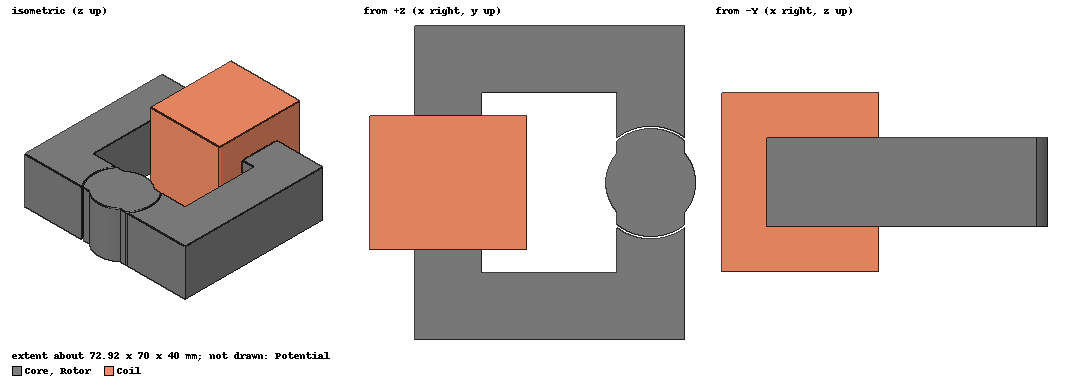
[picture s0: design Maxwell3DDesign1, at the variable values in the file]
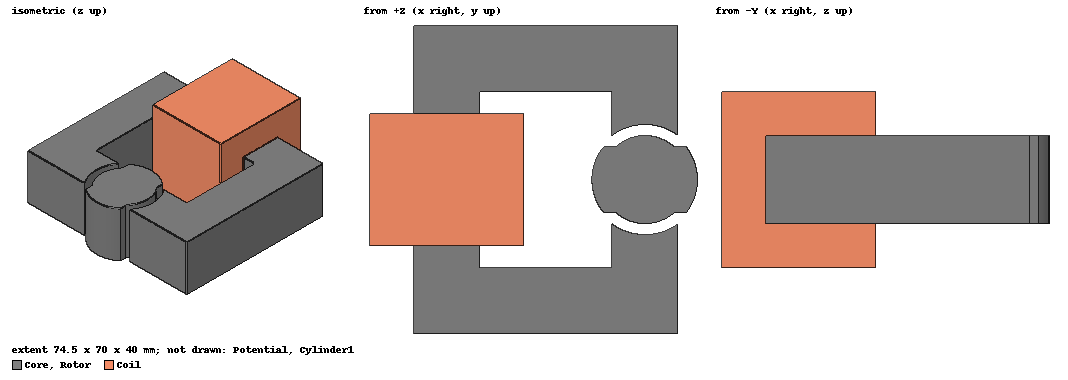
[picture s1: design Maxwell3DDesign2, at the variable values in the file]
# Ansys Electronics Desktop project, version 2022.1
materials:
  vacuum: permittivity=1
  copper: permeability=0.999991 conductivity=58000000
  steel_linear: permittivity=1 permeability=667.75 conductivity=2000000 lande_g_factor=2
  steel_1011: permittivity=1 permeability{HUnit=A_per_meter BUnit=tesla curve (0, 0) (100, 0.08391194) (200, 0.16782388) (300, 0.251735819) (400, 0.335647759) (500, 0.419559699) (600, 0.503471639) (700, 0.587383578) (800, 0.671295518) (900, 0.755207458) (1000, 0.839119398) (1100, 0.923031338) (1200, 1.006943277) (1300, 1.090855217) (1400, 1.174767157) (1500, 1.258679097) (1600, 1.342591036) (1700, 1.426502976) (1800, 1.510414916) (1900, 1.594326856) (2000, 1.678238796) (2100, 1.762150735) (2200, 1.846062675) (2300, 1.929974615) (2400, 2.013886555) (2500, 2.097798494) (2600, 2.181710434) (2700, 2.265622374) (2800, 2.349534314) (2900, 2.433446254) (3000, 2.517358193) (3100, 2.601270133) (3200, 2.685182073) (3300, 2.769094013) (3400, 2.853005952) (3500, 2.936917892) (3600, 3.020829832)} conductivity=2000000 lande_g_factor=2
  steel_1010: permittivity=1 permeability{HUnit=A_per_meter BUnit=tesla curve (0, 0) (238.7, 0.2003) (318.3, 0.3204) (358.1, 0.40045) (437.7, 0.50055) (477.5, 0.5606) (636.6, 0.7908) (795.8, 0.931) (1114.1, 1.1014) (1273.2, 1.2016) (1591.5, 1.302) (2228.2, 1.4028) (3183.1, 1.524) (4774.6, 1.626) (6366.2, 1.698) (7957.7, 1.73) (15915.5, 1.87) (31831, 1.99) (47746.5, 2.04) (63662, 2.07) (79577.5, 2.095) (159155, 2.2) (318310, 2.4)} conductivity=2000000 lande_g_factor=2

design Maxwell3DDesign1 (Maxwell 3D, Magnetostatic, model units mm)
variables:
  rotationAngle = -180deg
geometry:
  Core [steel_1010] = rectangle(corner=(0mm, 0mm, 0mm), x_size=60mm, y_size=70mm)
  Rectangle2 = rectangle(corner=(15mm, 15mm, 0mm), x_size=30mm, y_size=40mm)
  Circle1 = circle(normal=Z, centre=(52.5mm, 35mm, 0mm), radius=12.5mm)
  Circle2 = circle(normal=Z, centre=(52.5mm, 35mm, 0mm), radius=12mm)
  Rotor [steel_1010] = circle(normal=Z, centre=(52.5mm, 35mm, 0mm), radius=10mm)
  Core.subtract(Rectangle2)
  Core.subtract(Circle1)
  Rectangle3 = rectangle(corner=(45mm, 25.63mm, 0mm), x_size=15mm, y_size=18.73mm)
  Rectangle4 = rectangle(corner=(45mm, 25.63mm, 0mm), x_size=-5mm, y_size=18.73mm)
  Circle2.subtract(Rectangle4)
  Rectangle5 = rectangle(corner=(60mm, 25.63mm, 0mm), x_size=5mm, y_size=18.73mm)
  Circle2.subtract(Rectangle5)
  Rotor.unite(Rectangle3, Circle2)
  Coil1 = rectangle(corner=(0mm, 20mm, 0mm), x_size=-10mm, y_size=30mm)
  Coil2 = rectangle(corner=(15mm, 20mm, 0mm), x_size=10mm, y_size=30mm)
  [Core, Rotor, Coil1, Coil2].move(-52.5mm, -35.000002mm, 0mm)
  Rotor.rotate(axis=Z, angle=rotationAngle)
  [Core, Rotor, Coil1, Coil2].sweep_along_vector((0meter, 0meter, 20mm))
  [Core, Rotor, Coil1, Coil2].move(0mm, 0mm, 10mm)
  Coil [copper] = box(corner=(-62.5mm, -15.000002mm, 30mm), size=(35mm, 30mm, 10mm))
  Box2 = box(corner=(-27.5mm, -15.000002mm, 10mm), size=(-35mm, 30mm, -10mm))
  Coil.unite(Box2, Coil1, Coil2)
  Coil_Section1 [copper] = Coil.section(plane=XY)
  [Core, Rotor, Coil, Coil_Section1].move(52.5mm, 35.000002mm, -30mm)
  [Core, Rotor, Coil, Coil_Section1].move(-10mm, 0mm, 0mm)
  [Core, Rotor, Coil, Coil_Section1].move(2mm, 0mm, 0mm)
  Coil_Section2 [copper] = Coil.section(plane=YZ)
  Coil_Section2.separate_bodies()
  [Core, Rotor, Coil, Coil_Section1, Coil_Section2].move(-44.5mm, -35.000002mm, 0mm)
  [Core, Rotor, Coil, Coil_Section1, Coil_Section2].move(0mm, 0mm, 30mm)
  Rotor.rotate(axis=Z, angle=rotationAngle)
  Potential [vacuum] = box(corner=(-100mm, -50mm, -50mm), size=(200mm, 100mm, 100mm))
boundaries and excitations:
  Insulating1: Insulating Objects=Potential
  Current1: Current Objects=Coil_Section2 Current=750A IsSolid=false Point_out_of_terminal=true
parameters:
  Torque1: Torque Is_Virtual=true Coordinate_System=Global Axis=Z Is_Positive=true Objects=Rotor
  Matrix1: Matrix Current1: NumberOfTurns=750
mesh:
  initial mesh: GlobalCurvilinear{Apply}
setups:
  Setup1: Magnetostatic MaximumPasses=10 MinimumPasses=2 MinimumConvergedPasses=1 PercentRefinement=30 PercentError=1 ConstantDelta=0s NonLinearResidual=1e-06
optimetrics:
  ParametricSetup1: Parametric Sim._Setups=[Setup1]
    sweep rotationAngle: LIN -180deg 180deg 1deg
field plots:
  Mag_B1, B_Vector1: B on Setup1 : LastAdaptive

design Maxwell3DDesign2 (Maxwell 3D, Transient, model units mm)
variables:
  rotationAngle = -180deg
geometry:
  Core [steel_1010] = rectangle(corner=(0mm, 0mm, 0mm), x_size=60mm, y_size=70mm)
  Rectangle2 = rectangle(corner=(15mm, 15mm, 0mm), x_size=30mm, y_size=40mm)
  Circle1 = circle(normal=Z, centre=(52.5mm, 35mm, 0mm), radius=12.5mm)
  Circle2 = circle(normal=Z, centre=(52.5mm, 35mm, 0mm), radius=12mm)
  Rotor [steel_1010] = circle(normal=Z, centre=(52.5mm, 35mm, 0mm), radius=10mm)
  Core.subtract(Rectangle2)
  Core.subtract(Circle1)
  Rectangle3 = rectangle(corner=(45mm, 25.63mm, 0mm), x_size=15mm, y_size=18.73mm)
  Rectangle4 = rectangle(corner=(45mm, 25.63mm, 0mm), x_size=-5mm, y_size=18.73mm)
  Circle2.subtract(Rectangle4)
  Rectangle5 = rectangle(corner=(60mm, 25.63mm, 0mm), x_size=5mm, y_size=18.73mm)
  Circle2.subtract(Rectangle5)
  Rotor.unite(Rectangle3, Circle2)
  Coil1 = rectangle(corner=(0mm, 20mm, 0mm), x_size=-10mm, y_size=30mm)
  Coil2 = rectangle(corner=(15mm, 20mm, 0mm), x_size=10mm, y_size=30mm)
  [Core, Rotor, Coil1, Coil2].move(-52.5mm, -35.000002mm, 0mm)
  Rotor.rotate(axis=Z, angle=rotationAngle)
  [Core, Rotor, Coil1, Coil2].sweep_along_vector((0meter, 0meter, 20mm))
  [Core, Rotor, Coil1, Coil2].move(0mm, 0mm, 10mm)
  Coil [copper] = box(corner=(-62.5mm, -15.000002mm, 30mm), size=(35mm, 30mm, 10mm))
  Box2 = box(corner=(-27.5mm, -15.000002mm, 10mm), size=(-35mm, 30mm, -10mm))
  Coil.unite(Box2, Coil1, Coil2)
  [Core, Rotor, Coil].move(52.5mm, 35.000002mm, -30mm)
  [Core, Rotor, Coil].move(-10mm, 0mm, 0mm)
  [Core, Rotor, Coil].move(2mm, 0mm, 0mm)
  [Core, Rotor, Coil].move(-44.5mm, -35.000002mm, 0mm)
  [Core, Rotor, Coil].move(0mm, 0mm, 30mm)
  Potential [vacuum] = box(corner=(-100mm, -50mm, -50mm), size=(200mm, 100mm, 100mm))
  Rotor.rotate(axis=Z, angle=-89.9deg)
  Cylinder1 [vacuum] = cylinder(axis=Z, base_centre=(0mm, 0mm, 0mm), radius=12.25mm, height=40mm)
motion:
  MotionSetup1: Band Move_Type=Rotate Coordinate_System=Global Axis=Z Is_Positive=true InitPos=0deg Angular_Velocity=0rpm Moment_of_Inertia=0.001 Damping=0 Load_Torque=0NewtonMeter Objects=Cylinder1
  Moving1: Moving Objects=Rotor
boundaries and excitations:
  Insulating1: Insulating Objects=Potential
  Winding1: Winding Group Type=Current IsSolid=false Current=750A ParallelBranchesNum=250
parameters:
  Torque1: Torque Is_Virtual=true Coordinate_System=Global Axis=Z Is_Positive=true Objects=Rotor
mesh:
  CylindricalGap1: CylindricalGap BandMappingAngle=3deg MovingSideLayers=1 StaticSideLayers=1 Objects=Cylinder1
  initial mesh: GlobalCurvilinear{Apply}
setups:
  Setup1: Transient NonlinearSolverResidual=1e-06 ScalarPotential="Second Order" StopTime=2000ms TimeStep=20ms SaveFieldsType="Every N Steps" N_Steps=1 Steps_From=0s Steps_To=2000ms NumberSolveSteps=1 RangeStart=0s RangeEnd=0.1s
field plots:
  Mag_B1, B_Vector1: B in Core, Rotor, Coil, Cylinder1 on Setup1 : Transient at Time=-1
